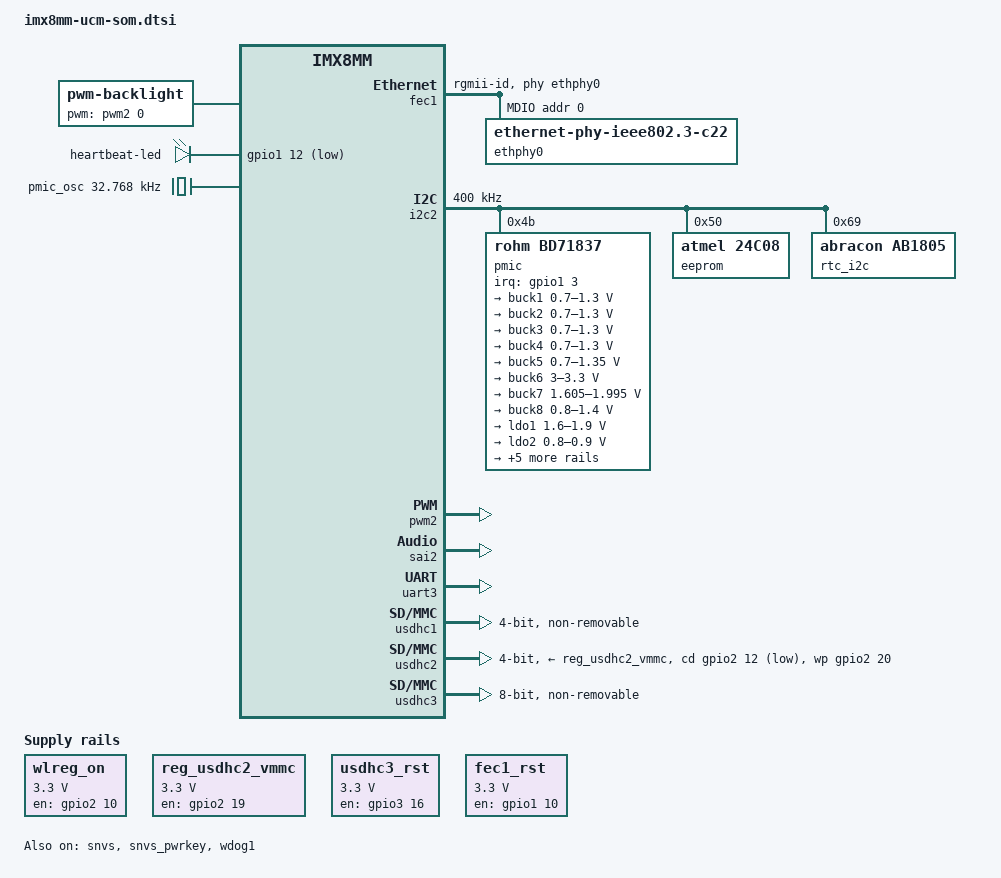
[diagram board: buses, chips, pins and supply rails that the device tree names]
// SPDX-License-Identifier: (GPL-2.0+ OR MIT)
//
// Copyright 2018 CompuLab

/dts-v1/;

#include "imx8mm.dtsi"
#include <dt-bindings/leds/common.h>

/ {
	aliases {
		rtc0 = &rtc_i2c;
		rtc1 = &snvs_rtc;
		mmc0 = &usdhc3;
	};

	chosen {
		stdout-path = &uart3;
	};

	backlight {
		compatible = "pwm-backlight";
		pwms = <&pwm2 0 3000000 0>;
		brightness-levels = <0 255>;
		num-interpolated-steps = <255>;
		default-brightness-level = <222>;
		status = "okay";
	};

	leds {
		compatible = "gpio-leds";
		pinctrl-names = "default";
		pinctrl-0 = <&pinctrl_gpio_led>;

		heartbeat-led {
			function = LED_FUNCTION_STATUS;
			gpios = <&gpio1 12 GPIO_ACTIVE_LOW>;
			linux,default-trigger = "heartbeat";
		};
	};

	pmic_osc: clock-pmic {
		compatible = "fixed-clock";
		#clock-cells = <0>;
		clock-frequency = <32768>;
		clock-output-names = "pmic_osc";
	};

	wlreg_on: regulator-wlreg-on {
		compatible = "regulator-fixed";
		regulator-min-microvolt = <3300000>;
		regulator-max-microvolt = <3300000>;
		regulator-name = "wlreg_on";
		gpio = <&gpio2 10 GPIO_ACTIVE_HIGH>;
		startup-delay-us = <100>;
		enable-active-high;
		regulator-always-on;
		status = "okay";
	};

	reg_usdhc2_vmmc: regulator-usdhc2-vmmc {
		compatible = "regulator-fixed";
		regulator-name = "VSD_3V3";
		regulator-min-microvolt = <3300000>;
		regulator-max-microvolt = <3300000>;
		gpio = <&gpio2 19 GPIO_ACTIVE_HIGH>;
		enable-active-high;
		startup-delay-us = <100>;
		off-on-delay-us = <12000>;
	};

	regulator-usdhc3rst {
		compatible = "regulator-fixed";
		regulator-name = "usdhc3_rst";
		regulator-min-microvolt = <3300000>;
		regulator-max-microvolt = <3300000>;
		gpio = <&gpio3 16 GPIO_ACTIVE_HIGH>;
		regulator-always-on;
		enable-active-high;
	};

	regulator-fec1rst {
		compatible = "regulator-fixed";
		regulator-name = "fec1_rst";
		regulator-min-microvolt = <3300000>;
		regulator-max-microvolt = <3300000>;
		gpio = <&gpio1 10 GPIO_ACTIVE_HIGH>;
		regulator-always-on;
		enable-active-high;
		startup-delay-us = <500>;
		regulator-boot-on;
	};
};

&A53_0 {
	arm-supply = <&buck2>;
};

&cpu_alert0 {
	temperature = <105000>;
};

&cpu_crit0 {
	temperature = <115000>;
};

&fec1 {
	pinctrl-names = "default";
	pinctrl-0 = <&pinctrl_fec1>;
	phy-mode = "rgmii-id";
	phy-handle = <&ethphy0>;
	fsl,magic-packet;
	status = "okay";

	mdio {
		#address-cells = <1>;
		#size-cells = <0>;

		ethphy0: ethernet-phy@0 {
			compatible = "ethernet-phy-ieee802.3-c22";
			reg = <0>;
		};
	};
};

&i2c2 {
	clock-frequency = <400000>;
	pinctrl-names = "default";
	pinctrl-0 = <&pinctrl_i2c2>;
	status = "okay";

	pmic@4b {
		reg = <0x4b>;
		compatible = "rohm,bd71837";
		pinctrl-names = "default";
		pinctrl-0 = <&pinctrl_pmic>;
		#clock-cells = <0>;
		clocks = <&pmic_osc>;
		clock-names = "osc";
		clock-output-names = "pmic_clk";
		interrupt-parent = <&gpio1>;
		interrupts = <3 IRQ_TYPE_LEVEL_LOW>;
		rohm,reset-snvs-powered;

		regulators {
			buck1: BUCK1 {
				regulator-name = "buck1";
				regulator-min-microvolt = <700000>;
				regulator-max-microvolt = <1300000>;
				regulator-boot-on;
				regulator-always-on;
				regulator-ramp-delay = <1250>;
			};

			buck2: BUCK2 {
				regulator-name = "buck2";
				regulator-min-microvolt = <700000>;
				regulator-max-microvolt = <1300000>;
				regulator-boot-on;
				regulator-always-on;
				regulator-ramp-delay = <1250>;
				rohm,dvs-run-voltage = <1000000>;
				rohm,dvs-idle-voltage = <900000>;
			};

			buck3: BUCK3 {
				regulator-name = "buck3";
				regulator-min-microvolt = <700000>;
				regulator-max-microvolt = <1300000>;
				regulator-boot-on;
				regulator-always-on;
			};

			buck4: BUCK4 {
				regulator-name = "buck4";
				regulator-min-microvolt = <700000>;
				regulator-max-microvolt = <1300000>;
				regulator-boot-on;
				regulator-always-on;
			};

			buck5: BUCK5 {
				regulator-name = "buck5";
				regulator-min-microvolt = <700000>;
				regulator-max-microvolt = <1350000>;
				regulator-boot-on;
				regulator-always-on;
			};

			buck6: BUCK6 {
				regulator-name = "buck6";
				regulator-min-microvolt = <3000000>;
				regulator-max-microvolt = <3300000>;
				regulator-boot-on;
				regulator-always-on;
			};

			buck7: BUCK7 {
				regulator-name = "buck7";
				regulator-min-microvolt = <1605000>;
				regulator-max-microvolt = <1995000>;
				regulator-boot-on;
				regulator-always-on;
			};

			buck8: BUCK8 {
				regulator-name = "buck8";
				regulator-min-microvolt = <800000>;
				regulator-max-microvolt = <1400000>;
				regulator-boot-on;
				regulator-always-on;
			};

			ldo1: LDO1 {
				regulator-name = "ldo1";
				regulator-min-microvolt = <1600000>;
				regulator-max-microvolt = <1900000>;
				regulator-boot-on;
				regulator-always-on;
			};

			ldo2: LDO2 {
				regulator-name = "ldo2";
				regulator-min-microvolt = <800000>;
				regulator-max-microvolt = <900000>;
				regulator-boot-on;
				regulator-always-on;
			};

			ldo3: LDO3 {
				regulator-name = "ldo3";
				regulator-min-microvolt = <1800000>;
				regulator-max-microvolt = <3300000>;
				regulator-boot-on;
				regulator-always-on;
			};

			ldo4: LDO4 {
				regulator-name = "ldo4";
				regulator-min-microvolt = <900000>;
				regulator-max-microvolt = <1800000>;
				regulator-boot-on;
				regulator-always-on;
			};

			ldo5: LDO5 {
				regulator-name = "ldo5";
				regulator-min-microvolt = <1800000>;
				regulator-max-microvolt = <3300000>;
			};

			ldo6: LDO6 {
				regulator-name = "ldo6";
				regulator-min-microvolt = <900000>;
				regulator-max-microvolt = <1800000>;
				regulator-boot-on;
				regulator-always-on;
			};

			ldo7: LDO7 {
				regulator-name = "ldo7";
				regulator-min-microvolt = <1800000>;
				regulator-max-microvolt = <3300000>;
			};
		};
	};

	eeprom@50 {
		compatible = "atmel,24c08";
		reg = <0x50>;
		pagesize = <16>;
	};

	rtc_i2c: rtc@69 {
		compatible = "abracon,ab1805";
		reg = <0x69>;
	};
};

&i2c3 {
	clock-frequency = <100000>;
	pinctrl-names = "default";
	pinctrl-0 = <&pinctrl_i2c3>;
	status = "disabled";
};

&pwm2 {
	pinctrl-names = "default";
	pinctrl-0 = <&pinctrl_pwm_backlight>;
	status = "okay";
};

&sai2 {
	#sound-dai-cells = <0>;
	pinctrl-names = "default";
	pinctrl-0 = <&pinctrl_sai2>;
	assigned-clocks = <&clk IMX8MM_CLK_SAI2>;
	assigned-clock-parents = <&clk IMX8MM_AUDIO_PLL1_OUT>;
	assigned-clock-rates = <49152000>;
	clocks = <&clk IMX8MM_CLK_SAI2_IPG>, <&clk IMX8MM_CLK_DUMMY>,
		<&clk IMX8MM_CLK_SAI2_ROOT>, <&clk IMX8MM_CLK_DUMMY>,
		<&clk IMX8MM_CLK_DUMMY>, <&clk IMX8MM_AUDIO_PLL1_OUT>,
		<&clk IMX8MM_AUDIO_PLL2_OUT>;
	clock-names = "bus", "mclk0", "mclk1", "mclk2", "mclk3", "pll8k", "pll11k";
	fsl,sai-asynchronous;
	status = "okay";
};

&snvs {
	status = "okay";
};

&snvs_pwrkey {
	status = "okay";
};

&uart1 {
	pinctrl-names = "default";
	pinctrl-0 = <&pinctrl_uart1>;
	assigned-clocks = <&clk IMX8MM_CLK_UART1>;
	assigned-clock-parents = <&clk IMX8MM_SYS_PLL1_80M>;
	status = "disabled";
};

&uart2 {
	pinctrl-names = "default";
	pinctrl-0 = <&pinctrl_uart2>;
	assigned-clocks = <&clk IMX8MM_CLK_UART2>;
	assigned-clock-parents = <&clk IMX8MM_SYS_PLL1_80M>;
	status = "disabled";
};

&uart3 { /* console */
	pinctrl-names = "default";
	pinctrl-0 = <&pinctrl_uart3>;
	status = "okay";
};

&uart4 { /* bluetooth */
	pinctrl-names = "default";
	pinctrl-0 = <&pinctrl_uart4>;
	assigned-clocks = <&clk IMX8MM_CLK_UART4>;
	assigned-clock-parents = <&clk IMX8MM_SYS_PLL1_80M>;
	uart-has-rtscts;
	status = "disabled";

	bluetooth {
		compatible = "brcm,bcm4330-bt";
		pinctrl-names = "default";
		pinctrl-0 = <&pinctrl_bt>;
		max-speed = <3000000>;
		device-wakeup-gpios = <&gpio2 7 GPIO_ACTIVE_HIGH>;
		host-wakeup-gpios = <&gpio2 8 GPIO_ACTIVE_HIGH>;
		shutdown-gpios = <&gpio2 6 GPIO_ACTIVE_HIGH>;
	};
};

&usbotg1 {
	dr_mode = "otg";
	hnp-disable;
	srp-disable;
	disable-over-current;
	status = "disabled";
};

&usbotg2 {
	dr_mode = "host";
	hnp-disable;
	srp-disable;
	disable-over-current;
	status = "disabled";
};

&usdhc1 {
	pinctrl-names = "default", "state_100mhz", "state_200mhz";
	pinctrl-0 = <&pinctrl_usdhc1>, <&pinctrl_usdhc1_gpio>;
	pinctrl-1 = <&pinctrl_usdhc1_100mhz>, <&pinctrl_usdhc1_gpio>;
	pinctrl-2 = <&pinctrl_usdhc1_200mhz>, <&pinctrl_usdhc1_gpio>;
	bus-width = <4>;
	non-removable;
};

&usdhc2 {
	pinctrl-names = "default", "state_100mhz", "state_200mhz";
	pinctrl-0 = <&pinctrl_usdhc2>, <&pinctrl_usdhc2_gpio>;
	pinctrl-1 = <&pinctrl_usdhc2_100mhz>, <&pinctrl_usdhc2_gpio>;
	pinctrl-2 = <&pinctrl_usdhc2_200mhz>, <&pinctrl_usdhc2_gpio>;
	cd-gpios = <&gpio2 12 GPIO_ACTIVE_LOW>;
	wp-gpios = <&gpio2 20 GPIO_ACTIVE_HIGH>;
	no-1-8-v;
	bus-width = <4>;
	vmmc-supply = <&reg_usdhc2_vmmc>;
	status = "okay";
};

&usdhc3 {
	pinctrl-names = "default", "state_100mhz", "state_200mhz";
	pinctrl-0 = <&pinctrl_usdhc3>;
	pinctrl-1 = <&pinctrl_usdhc3_100mhz>;
	pinctrl-2 = <&pinctrl_usdhc3_200mhz>;
	bus-width = <8>;
	non-removable;
	no-1-8-v;
	status = "okay";
};

&wdog1 {
	pinctrl-names = "default";
	pinctrl-0 = <&pinctrl_wdog>;
	fsl,ext-reset-output;
	status = "okay";
};

&iomuxc {
	pinctrl-names = "default";
	pinctrl-0 = <&pinctrl_hog_1>;

	pinctrl_hog: hoggrp {
		fsl,pins = <
			MX8MM_IOMUXC_GPIO1_IO10_GPIO1_IO10		0x19
			MX8MM_IOMUXC_NAND_READY_B_GPIO3_IO16		0x190
		>;
	};

	pinctrl_bt: bt0grp {
		fsl,pins = <
			MX8MM_IOMUXC_SD1_DATA4_GPIO2_IO6		0x19 /* BT_REG_ON */
			MX8MM_IOMUXC_SD1_DATA5_GPIO2_IO7		0x19 /* BT_DEV_WU */
			MX8MM_IOMUXC_SD1_DATA6_GPIO2_IO8		0x19 /* BT_HST_WU */
		>;
	};

	pinctrl_fec1: fec1grp {
		fsl,pins = <
			MX8MM_IOMUXC_ENET_MDC_ENET1_MDC			0x3
			MX8MM_IOMUXC_ENET_MDIO_ENET1_MDIO		0x3
			MX8MM_IOMUXC_ENET_TD3_ENET1_RGMII_TD3		0x1f
			MX8MM_IOMUXC_ENET_TD2_ENET1_RGMII_TD2		0x1f
			MX8MM_IOMUXC_ENET_TD1_ENET1_RGMII_TD1		0x1f
			MX8MM_IOMUXC_ENET_TD0_ENET1_RGMII_TD0		0x1f
			MX8MM_IOMUXC_ENET_RD3_ENET1_RGMII_RD3		0x91
			MX8MM_IOMUXC_ENET_RD2_ENET1_RGMII_RD2		0x91
			MX8MM_IOMUXC_ENET_RD1_ENET1_RGMII_RD1		0x91
			MX8MM_IOMUXC_ENET_RD0_ENET1_RGMII_RD0		0x91
			MX8MM_IOMUXC_ENET_TXC_ENET1_RGMII_TXC		0x1f
			MX8MM_IOMUXC_ENET_RXC_ENET1_RGMII_RXC		0x91
			MX8MM_IOMUXC_ENET_RX_CTL_ENET1_RGMII_RX_CTL	0x91
			MX8MM_IOMUXC_ENET_TX_CTL_ENET1_RGMII_TX_CTL	0x1f
		>;
	};

	pinctrl_gpio_led: gpioledgrp {
		fsl,pins = <
			MX8MM_IOMUXC_GPIO1_IO12_GPIO1_IO12		0x19
		>;
	};

	pinctrl_i2c1: i2c1grp {
		fsl,pins = <
			MX8MM_IOMUXC_I2C1_SCL_I2C1_SCL			0x400001c3
			MX8MM_IOMUXC_I2C1_SDA_I2C1_SDA			0x400001c3
		>;
	};

	pinctrl_i2c2: i2c2grp {
		fsl,pins = <
			MX8MM_IOMUXC_I2C2_SCL_I2C2_SCL			0x400001c3
			MX8MM_IOMUXC_I2C2_SDA_I2C2_SDA			0x400001c3
		>;
	};

	pinctrl_i2c3: i2c3grp {
		fsl,pins = <
			MX8MM_IOMUXC_I2C3_SCL_I2C3_SCL			0x400001c3
			MX8MM_IOMUXC_I2C3_SDA_I2C3_SDA			0x400001c3
		>;
	};

	pinctrl_i2c4: i2c4grp {
		fsl,pins = <
			MX8MM_IOMUXC_I2C4_SCL_I2C4_SCL			0x400001c3
			MX8MM_IOMUXC_I2C4_SDA_I2C4_SDA			0x400001c3
		>;
	};

	pinctrl_pmic: pmicgrp {
		fsl,pins = <
			MX8MM_IOMUXC_GPIO1_IO03_GPIO1_IO3		0x41
		>;
	};

	pinctrl_pwm_backlight: pwmbacklightgrp {
		fsl,pins = <
			MX8MM_IOMUXC_GPIO1_IO13_PWM2_OUT		0x03
		>;
	};


	pinctrl_sai2: sai2grp {
		fsl,pins = <
			MX8MM_IOMUXC_SAI2_MCLK_SAI2_MCLK		0xd6
			MX8MM_IOMUXC_SAI2_TXFS_SAI2_TX_SYNC		0xd6
			MX8MM_IOMUXC_SAI2_RXFS_SAI2_RX_SYNC		0xd6
			MX8MM_IOMUXC_SAI2_TXC_SAI2_TX_BCLK		0xd6
			MX8MM_IOMUXC_SAI2_TXD0_SAI2_TX_DATA0		0xd6
			MX8MM_IOMUXC_SAI2_RXD0_SAI2_RX_DATA0		0xd6
		>;
	};

	pinctrl_uart1: uart1grp {
		fsl,pins = <
			MX8MM_IOMUXC_UART1_RXD_UART1_DCE_RX		0x140
			MX8MM_IOMUXC_UART1_TXD_UART1_DCE_TX		0x140
		>;
	};

	pinctrl_uart2: uart2grp {
		fsl,pins = <
			MX8MM_IOMUXC_UART2_RXD_UART2_DCE_RX		0x140
			MX8MM_IOMUXC_UART2_TXD_UART2_DCE_TX		0x140
		>;
	};

	pinctrl_uart3: uart3grp {
		fsl,pins = <
			MX8MM_IOMUXC_UART3_RXD_UART3_DCE_RX		0x49
			MX8MM_IOMUXC_UART3_TXD_UART3_DCE_TX		0x49
		>;
	};

	pinctrl_uart4: uart4grp {
		fsl,pins = <
			MX8MM_IOMUXC_ECSPI2_MISO_UART4_DCE_CTS_B	0x140
			MX8MM_IOMUXC_ECSPI2_MOSI_UART4_DCE_TX		0x140
			MX8MM_IOMUXC_ECSPI2_SS0_UART4_DCE_RTS_B		0x140
			MX8MM_IOMUXC_ECSPI2_SCLK_UART4_DCE_RX		0x140
		>;
	};

	pinctrl_usdhc1_gpio: usdhc1grpgpiogrp {
		fsl,pins = <
			MX8MM_IOMUXC_SD1_RESET_B_GPIO2_IO10		0x41
		>;
	};

	pinctrl_usdhc1: usdhc1grp {
		fsl,pins = <
			MX8MM_IOMUXC_SD1_CLK_USDHC1_CLK			0x190
			MX8MM_IOMUXC_SD1_CMD_USDHC1_CMD			0x1d0
			MX8MM_IOMUXC_SD1_DATA0_USDHC1_DATA0		0x1d0
			MX8MM_IOMUXC_SD1_DATA1_USDHC1_DATA1		0x1d0
			MX8MM_IOMUXC_SD1_DATA2_USDHC1_DATA2		0x1d0
			MX8MM_IOMUXC_SD1_DATA3_USDHC1_DATA3		0x1d0
			MX8MM_IOMUXC_GPIO1_IO03_USDHC1_VSELECT		0x1d0
		>;
	};

	pinctrl_usdhc1_100mhz: usdhc1grp100mhzgrp {
		fsl,pins = <
			MX8MM_IOMUXC_SD1_CLK_USDHC1_CLK			0x194
			MX8MM_IOMUXC_SD1_CMD_USDHC1_CMD			0x1d4
			MX8MM_IOMUXC_SD1_DATA0_USDHC1_DATA0		0x1d4
			MX8MM_IOMUXC_SD1_DATA1_USDHC1_DATA1		0x1d4
			MX8MM_IOMUXC_SD1_DATA2_USDHC1_DATA2		0x1d4
			MX8MM_IOMUXC_SD1_DATA3_USDHC1_DATA3		0x1d4
			MX8MM_IOMUXC_GPIO1_IO03_USDHC1_VSELECT		0x1d0
		>;
	};

	pinctrl_usdhc1_200mhz: usdhc1grp200mhzgrp {
		fsl,pins = <
			MX8MM_IOMUXC_SD1_CLK_USDHC1_CLK			0x196
			MX8MM_IOMUXC_SD1_CMD_USDHC1_CMD			0x1d6
			MX8MM_IOMUXC_SD1_DATA0_USDHC1_DATA0		0x1d6
			MX8MM_IOMUXC_SD1_DATA1_USDHC1_DATA1		0x1d6
			MX8MM_IOMUXC_SD1_DATA2_USDHC1_DATA2		0x1d6
			MX8MM_IOMUXC_SD1_DATA3_USDHC1_DATA3		0x1d6
			MX8MM_IOMUXC_GPIO1_IO03_USDHC1_VSELECT		0x1d0
		>;
	};

	pinctrl_usdhc2_gpio: usdhc2grpgpiogrp {
		fsl,pins = <
			MX8MM_IOMUXC_SD2_RESET_B_GPIO2_IO19		0x41
			MX8MM_IOMUXC_SD2_CD_B_GPIO2_IO12		0x41
			MX8MM_IOMUXC_SD2_WP_GPIO2_IO20			0x00
		>;
	};

	pinctrl_usdhc2: usdhc2grp {
		fsl,pins = <
			MX8MM_IOMUXC_SD2_CLK_USDHC2_CLK			0x190
			MX8MM_IOMUXC_SD2_CMD_USDHC2_CMD			0x1d0
			MX8MM_IOMUXC_SD2_DATA0_USDHC2_DATA0		0x1d0
			MX8MM_IOMUXC_SD2_DATA1_USDHC2_DATA1		0x1d0
			MX8MM_IOMUXC_SD2_DATA2_USDHC2_DATA2		0x1d0
			MX8MM_IOMUXC_SD2_DATA3_USDHC2_DATA3		0x1d0
			MX8MM_IOMUXC_GPIO1_IO04_USDHC2_VSELECT		0x1d0
		>;
	};

	pinctrl_usdhc2_100mhz: usdhc2grp100mhzgrp {
		fsl,pins = <
			MX8MM_IOMUXC_SD2_CLK_USDHC2_CLK			0x194
			MX8MM_IOMUXC_SD2_CMD_USDHC2_CMD			0x1d4
			MX8MM_IOMUXC_SD2_DATA0_USDHC2_DATA0		0x1d4
			MX8MM_IOMUXC_SD2_DATA1_USDHC2_DATA1		0x1d4
			MX8MM_IOMUXC_SD2_DATA2_USDHC2_DATA2		0x1d4
			MX8MM_IOMUXC_SD2_DATA3_USDHC2_DATA3		0x1d4
			MX8MM_IOMUXC_GPIO1_IO04_USDHC2_VSELECT		0x1d0
		>;
	};

	pinctrl_usdhc2_200mhz: usdhc2grp200mhzgrp {
		fsl,pins = <
			MX8MM_IOMUXC_SD2_CLK_USDHC2_CLK			0x196
			MX8MM_IOMUXC_SD2_CMD_USDHC2_CMD			0x1d6
			MX8MM_IOMUXC_SD2_DATA0_USDHC2_DATA0		0x1d6
			MX8MM_IOMUXC_SD2_DATA1_USDHC2_DATA1		0x1d6
			MX8MM_IOMUXC_SD2_DATA2_USDHC2_DATA2		0x1d6
			MX8MM_IOMUXC_SD2_DATA3_USDHC2_DATA3		0x1d6
			MX8MM_IOMUXC_GPIO1_IO04_USDHC2_VSELECT		0x1d0
		>;
	};

	pinctrl_usdhc3: usdhc3grp {
		fsl,pins = <
			MX8MM_IOMUXC_NAND_WE_B_USDHC3_CLK		0x40000190
			MX8MM_IOMUXC_NAND_WP_B_USDHC3_CMD		0x1d0
			MX8MM_IOMUXC_NAND_DATA04_USDHC3_DATA0		0x1d0
			MX8MM_IOMUXC_NAND_DATA05_USDHC3_DATA1		0x1d0
			MX8MM_IOMUXC_NAND_DATA06_USDHC3_DATA2		0x1d0
			MX8MM_IOMUXC_NAND_DATA07_USDHC3_DATA3		0x1d0
			MX8MM_IOMUXC_NAND_RE_B_USDHC3_DATA4		0x1d0
			MX8MM_IOMUXC_NAND_CE2_B_USDHC3_DATA5		0x1d0
			MX8MM_IOMUXC_NAND_CE3_B_USDHC3_DATA6		0x1d0
			MX8MM_IOMUXC_NAND_CLE_USDHC3_DATA7		0x1d0
			MX8MM_IOMUXC_NAND_CE1_B_USDHC3_STROBE		0x190
		>;
	};

	pinctrl_usdhc3_100mhz: usdhc3grp100mhzgrp {
		fsl,pins = <
			MX8MM_IOMUXC_NAND_WE_B_USDHC3_CLK		0x40000194
			MX8MM_IOMUXC_NAND_WP_B_USDHC3_CMD		0x1d4
			MX8MM_IOMUXC_NAND_DATA04_USDHC3_DATA0		0x1d4
			MX8MM_IOMUXC_NAND_DATA05_USDHC3_DATA1		0x1d4
			MX8MM_IOMUXC_NAND_DATA06_USDHC3_DATA2		0x1d4
			MX8MM_IOMUXC_NAND_DATA07_USDHC3_DATA3		0x1d4
			MX8MM_IOMUXC_NAND_RE_B_USDHC3_DATA4		0x1d4
			MX8MM_IOMUXC_NAND_CE2_B_USDHC3_DATA5		0x1d4
			MX8MM_IOMUXC_NAND_CE3_B_USDHC3_DATA6		0x1d4
			MX8MM_IOMUXC_NAND_CLE_USDHC3_DATA7		0x1d4
			MX8MM_IOMUXC_NAND_CE1_B_USDHC3_STROBE		0x194
		>;
	};

	pinctrl_usdhc3_200mhz: usdhc3grp200mhzgrp {
		fsl,pins = <
			MX8MM_IOMUXC_NAND_WE_B_USDHC3_CLK		0x40000196
			MX8MM_IOMUXC_NAND_WP_B_USDHC3_CMD		0x1d6
			MX8MM_IOMUXC_NAND_DATA04_USDHC3_DATA0		0x1d6
			MX8MM_IOMUXC_NAND_DATA05_USDHC3_DATA1		0x1d6
			MX8MM_IOMUXC_NAND_DATA06_USDHC3_DATA2		0x1d6
			MX8MM_IOMUXC_NAND_DATA07_USDHC3_DATA3		0x1d6
			MX8MM_IOMUXC_NAND_RE_B_USDHC3_DATA4		0x1d6
			MX8MM_IOMUXC_NAND_CE2_B_USDHC3_DATA5		0x1d6
			MX8MM_IOMUXC_NAND_CE3_B_USDHC3_DATA6		0x1d6
			MX8MM_IOMUXC_NAND_CLE_USDHC3_DATA7		0x1d6
			MX8MM_IOMUXC_NAND_CE1_B_USDHC3_STROBE		0x196
		>;
	};

	pinctrl_wdog: wdoggrp {
		fsl,pins = <
			MX8MM_IOMUXC_GPIO1_IO02_WDOG1_WDOG_B		0xc6
		>;
	};
};
